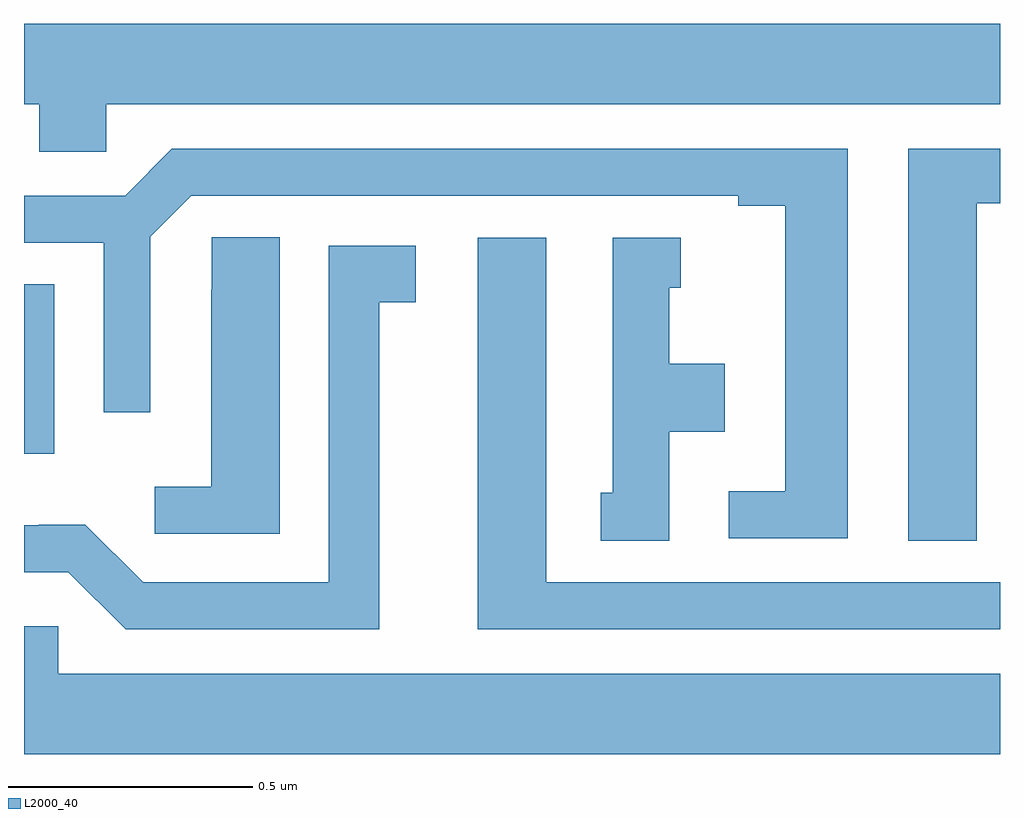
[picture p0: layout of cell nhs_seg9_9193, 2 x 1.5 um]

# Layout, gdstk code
import gdstk
lib = gdstk.Library(unit=1e-6, precision=1e-09)
def R(c, l, rs):  # rectangles x0, y0, x1, y1
    for r in rs: c.add(gdstk.rectangle(r[:2], r[2:], *l))
def P(c, l, *ps):  # polygons
    for p in ps: c.add(gdstk.Polygon(p, *l))
L2000_40 = (2000, 40)

nhs_seg9_9193 = lib.new_cell('nhs_seg9_9193')
R(nhs_seg9_9193, L2000_40, [(227,1178.387,227.062,1178.735)])
P(nhs_seg9_9193, L2000_40, [(227.169,1179.104),(229,1179.104),(229,1179.268),(227,1179.268),(227,1179.104),(227.031,1179.104),(227.031,1179.006),(227.169,1179.006)],
  [(228.688,1179.012),(227.303,1179.012),(227.207,1178.916),(227,1178.916),(227,1178.82),(227.163,1178.82),(227.163,1178.472),(227.259,1178.472),(227.259,1178.832),(227.343,1178.916),(228.464,1178.916),(228.464,1178.896),(228.56,1178.896),(228.56,1178.31),(228.444,1178.31),(228.444,1178.214),(228.688,1178.214)],
  [(228.952,1178.901),(229,1178.901),(229,1179.012),(228.812,1179.012),(228.812,1178.209),(228.952,1178.209)],
  [(227.524,1178.831),(227.385,1178.831),(227.385,1178.723),(227.384,1178.723),(227.384,1178.32),(227.268,1178.32),(227.268,1178.223),(227.524,1178.223)],
  [(229,1178.124),(228.07,1178.124),(228.07,1178.83),(227.93,1178.83),(227.93,1178.028),(229,1178.028)],
  [(228.322,1178.432),(228.436,1178.432),(228.436,1178.572),(228.322,1178.572),(228.322,1178.727),(228.346,1178.727),(228.346,1178.83),(228.206,1178.83),(228.206,1178.307),(228.182,1178.307),(228.182,1178.209),(228.322,1178.209)],
  [(227.728,1178.698),(227.803,1178.698),(227.803,1178.814),(227.624,1178.814),(227.624,1178.124),(227.244,1178.124),(227.126,1178.242),(227.03,1178.242),(227.03,1178.241),(227,1178.241),(227,1178.145),(227.091,1178.145),(227.208,1178.028),(227.728,1178.028)],
  [(229,1177.936),(227.07,1177.936),(227.07,1178.034),(227,1178.034),(227,1177.772),(229,1177.772)])

lib.write_gds('nhs_seg9_9193.gds')
